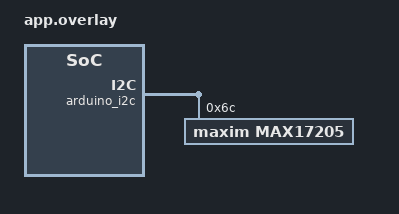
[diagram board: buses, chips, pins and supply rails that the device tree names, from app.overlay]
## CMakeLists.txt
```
cmake_minimum_required(VERSION 3.20.0)

find_package(Zephyr REQUIRED HINTS $ENV{ZEPHYR_BASE})

project(app_battery LANGUAGES C)

execute_process(COMMAND bash -c "oresat-configs canopennode od.yaml ../../common/od.yaml -d gen")

target_sources(app PRIVATE
  src/main.c
  src/batt.c
  src/calib.c
  src/hist.c
  gen/OD.c
)

zephyr_include_directories(gen)
```

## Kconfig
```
menu "Zephyr"
source "Kconfig.zephyr"
endmenu

module = APP_BATTERY
module-str = APP_BATTERY
```

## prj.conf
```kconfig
CONFIG_GPIO=y
CONFIG_SENSOR=y
CONFIG_CAN=y
CONFIG_CAN_DEFAULT_BITRATE=1000000
CONFIG_CANOPENNODE_V4=y
CONFIG_CANOPENNODE_V4_LOG_LEVEL_DBG=y
CONFIG_REBOOT=y
CONFIG_STM32_VREF=y
CONFIG_STM32_TEMP=y

CONFIG_ORESAT_COMMON_LIB=y

CONFIG_LOG=y
CONFIG_LOG_MODE_DEFERRED=y
CONFIG_LOG_RUNTIME_FILTERING=y
CONFIG_LOG_BUFFER_SIZE=2048
CONFIG_LOG_PRINTK=y
CONFIG_LOG_PROCESS_TRIGGER_THRESHOLD=0
CONFIG_COVERAGE=n
CONFIG_LOG_TAG_MAX_LEN=8

CONFIG_CONSOLE_SUBSYS=y
CONFIG_CONSOLE_GETCHAR=y
```

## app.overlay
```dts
/*
 * Copyright (c) 2021 Matija Tudan
 *
 * SPDX-License-Identifier: Apache-2.0
 */

&arduino_i2c {
	status = "okay";

	max17205@6C {
		compatible = "maxim,max17205";
		reg = <0x6C>;
        /* NOTE: this device has two I2C slave addresses. They are used to access
         * different sets of register addresses. Ensure your system does not place
         * another device on the I2C bus which responds to the below aux-addr.
         */
        aux-addr = <0x16>;
        num-cells = <2>;
        cell-bal-thresh-voltage = <40>;
        pack-flags = <0x3E00>;
		rsense-mohms = <10>;
		status = "okay";
	};
};
```

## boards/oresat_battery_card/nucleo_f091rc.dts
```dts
/*
 * Copyright (c) 2017 Bobby Noelte
 *
 * SPDX-License-Identifier: Apache-2.0
 */

/dts-v1/;
#include <st/f0/stm32f091Xc.dtsi>
#include <st/f0/stm32f091r(b-c)tx-pinctrl.dtsi>
#include "arduino_r3_connector.dtsi"
#include "st_morpho_connector.dtsi"
#include <zephyr/dt-bindings/input/input-event-codes.h>

/ {
	model = "Oresat battery card";
	compatible = "st,stm32f091rc-nucleo";

	chosen {
		zephyr,console = &usart2;
		zephyr,shell-uart = &usart2;
		zephyr,sram = &sram0;
		zephyr,flash = &flash0;
		zephyr,canbus = &can1;
	};

	leds: leds {
		compatible = "gpio-leds";

		amber_led_1: led_1 {
			gpios = <&gpioa 0 GPIO_ACTIVE_HIGH>;
			label = "Heartbeat LED";
		};
	};

	gpio_keys {
		compatible = "gpio-keys";

		user_button: button {
			label = "User";
			gpios = <&gpioc 13 GPIO_ACTIVE_LOW>;
			zephyr,code = <INPUT_KEY_0>;
			status = "disabled";
		};
	};

	pwmleds: pwmleds {
		compatible = "pwm-leds";
		status = "disabled";

		amber_pwm_led: amber_pwm_led {
			pwms = <&pwm2 1 PWM_MSEC(20) PWM_POLARITY_NORMAL>;
		};
	};

	aliases {
		led0 = &amber_led_1;
		sw0 = &user_button;
		pwm-led0 = &amber_pwm_led;
		watchdog0 = &iwdg;
		die-temp0 = &die_temp;
		volt-sensor0 = &vref;
		volt-sensor1 = &vbat;
	};
};

&clk_hse {
	hse-bypass;
	clock-frequency = <DT_FREQ_M(8)>; /* STLink 8MHz clock */
	status = "okay";
};

&clk_lsi {
	status = "okay";
};

&pll {
	prediv = <1>;
	mul = <6>;
	clocks = <&clk_hse>;
	status = "okay";
};

&rcc {
	clocks = <&pll>;
	clock-frequency = <DT_FREQ_M(48)>;
	ahb-prescaler = <1>;
	apb1-prescaler = <1>;
};

&usart1 {
	pinctrl-0 = <&usart1_tx_pb6 &usart1_rx_pb7>;
	pinctrl-names = "default";
	current-speed = <115200>;
   status = "disabled";
};

&usart2 {
	pinctrl-0 = <&usart2_tx_pa2 &usart2_rx_pa3>;
	pinctrl-names = "default";
	current-speed = <115200>;
	status = "okay";
};

&i2c1 {
	pinctrl-0 = <&i2c1_scl_pb6 &i2c1_sda_pb7>;
	pinctrl-names = "default";
	status = "okay";
	clock-frequency = <I2C_BITRATE_FAST>;
};

&i2c2 {
	/* Pin conflict with can1. Enable only with can1 disabled. */
	pinctrl-0 = <&i2c2_scl_pb13 &i2c2_sda_pb14>;
	pinctrl-names = "default";
	status = "okay";
	clock-frequency = <I2C_BITRATE_FAST>;
};

&can1 {
	pinctrl-0 = <&can_rx_pa11 &can_tx_pa12>;
	pinctrl-names = "default";
	status = "okay";
};

&spi1 {
	pinctrl-0 = <&spi1_sck_pa5 &spi1_miso_pa6 &spi1_mosi_pa7>;
	pinctrl-names = "default";
	status = "disabled";
};

&spi2 {
	pinctrl-0 = <&spi2_sck_pb13 &spi2_miso_pb14 &spi2_mosi_pb15>;
	pinctrl-names = "default";
	status = "disabled";
};

&iwdg {
	status = "okay";
};

&rtc {
	clocks = <&rcc STM32_CLOCK_BUS_APB1 0x10000000>,
		 <&rcc STM32_SRC_LSI RTC_SEL(2)>;
	status = "okay";
};

&flash0 {
	partitions {
		compatible = "fixed-partitions";
		#address-cells = <1>;
		#size-cells = <1>;

		/* Set 6Kb of storage at the end of the 256Kb of flash */
		storage_partition: partition@3e800 {
			label = "storage";
			reg = <0x0003e800 DT_SIZE_K(6)>;
		};
	};
};

&adc1 {
	pinctrl-0 = <&adc_in0_pa8>;
	pinctrl-names = "default";
	st,adc-clock-source = "SYNC";
	st,adc-prescaler = <2>;
	status = "okay";
};

&die_temp {
	status = "okay";
};

&dac1 {
	status = "disabled";
	pinctrl-0 = <&dac_out1_pa4>;
	pinctrl-names = "default";
};

&dma1 {
	status = "okay";
};

&timers2 {
	st,prescaler = <10000>;
	status = "disabled";

	pwm2: pwm {
		/* NOTE: disabled by default, PWM2 conflicts with SPI1 */
		pinctrl-0 = <&tim2_ch1_pa0>;
		pinctrl-names = "default";
	};
};

&vref {
	status = "okay";
};

&vbat {
	status = "okay";
};
```

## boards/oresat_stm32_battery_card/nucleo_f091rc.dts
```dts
/*
 * Copyright (c) 2017 Bobby Noelte
 *
 * SPDX-License-Identifier: Apache-2.0
 */

/dts-v1/;
#include <st/f0/stm32f091Xc.dtsi>
#include <st/f0/stm32f091r(b-c)tx-pinctrl.dtsi>
#include "arduino_r3_connector.dtsi"
#include "st_morpho_connector.dtsi"
#include <zephyr/dt-bindings/input/input-event-codes.h>

/ {
	model = "Oresat battery card";
	compatible = "st,stm32f091rc-nucleo";

	chosen {
		zephyr,console = &usart2;
		zephyr,shell-uart = &usart2;
		zephyr,sram = &sram0;
		zephyr,flash = &flash0;
		zephyr,canbus = &can1;
	};

	leds: leds {
		compatible = "gpio-leds";

		amber_led_1: led_1 {
			gpios = <&gpioa 0 GPIO_ACTIVE_HIGH>;
			label = "Heartbeat LED";
			status = "okay";
		};
	};

	gpio_keys {
		compatible = "gpio-keys";

		user_button: button {
			label = "User";
			gpios = <&gpioc 13 GPIO_ACTIVE_LOW>;
			zephyr,code = <INPUT_KEY_0>;
			status = "disabled";
		};
	};

	pwmleds: pwmleds {
		compatible = "pwm-leds";
		status = "disabled";

		amber_pwm_led: amber_pwm_led {
			pwms = <&pwm2 1 PWM_MSEC(20) PWM_POLARITY_NORMAL>;
		};
	};

   packs: oresat_battery_packs {
   	compatible = "oresat,battery-packs";

   	alert_gpios = <&gpiob 5 0>, <&gpiob 12 0>;
   	charge_stat_oc_gpios = <&gpioa 7 0>, <&gpiob 10 0>;
   	discharge_stat_oc_gpios = <&gpioa 1 0>, <&gpiob 11 0>;
   	charge_disable_gpios = <&gpioa 4 GPIO_ACTIVE_HIGH>, <&gpiob 0 GPIO_ACTIVE_HIGH>;
   	discharge_disable_gpios = <&gpioa 5 GPIO_ACTIVE_HIGH>, <&gpiob 1 GPIO_ACTIVE_HIGH>;
   	heater_gpios = <&gpioc 14 GPIO_ACTIVE_HIGH>, <&gpioc 15 GPIO_ACTIVE_HIGH>;
   	moarpwr_gpios = <&gpiob 15 GPIO_ACTIVE_HIGH>;
	};

	aliases {
		led0 = &amber_led_1;
		sw0 = &user_button;
		pwm-led0 = &amber_pwm_led;
		watchdog0 = &iwdg;
		die-temp0 = &die_temp;
		volt-sensor0 = &vref;
		volt-sensor1 = &vbat;
	};
};

&clk_hse {
	hse-bypass;
	clock-frequency = <DT_FREQ_M(8)>; /* STLink 8MHz clock */
	status = "okay";
};

&clk_lsi {
	status = "okay";
};

&pll {
	prediv = <1>;
	mul = <6>;
	clocks = <&clk_hse>;
	status = "okay";
};

&rcc {
	clocks = <&pll>;
	clock-frequency = <DT_FREQ_M(48)>;
	ahb-prescaler = <1>;
	apb1-prescaler = <1>;
};

&usart1 {
	pinctrl-0 = <&usart1_tx_pb6 &usart1_rx_pb7>;
	pinctrl-names = "default";
	current-speed = <115200>;
   status = "disabled";
};

&usart2 {
	pinctrl-0 = <&usart2_tx_pa2 &usart2_rx_pa3>;
	pinctrl-names = "default";
	current-speed = <115200>;
	status = "okay";
};

&i2c1 {
	pinctrl-0 = <&i2c1_scl_pb6 &i2c1_sda_pb7>;
	pinctrl-names = "default";
	status = "okay";
	clock-frequency = <I2C_BITRATE_FAST>;
};

&i2c2 {
	/* Pin conflict with can1. Enable only with can1 disabled. */
	pinctrl-0 = <&i2c2_scl_pb13 &i2c2_sda_pb14>;
	pinctrl-names = "default";
	status = "okay";
	clock-frequency = <I2C_BITRATE_FAST>;
};

&can1 {
	pinctrl-0 = <&can_rx_pa11 &can_tx_pa12>;
	pinctrl-names = "default";
	status = "okay";
};

&spi1 {
	pinctrl-0 = <&spi1_sck_pa5 &spi1_miso_pa6 &spi1_mosi_pa7>;
	pinctrl-names = "default";
	status = "disabled";
};

&spi2 {
	pinctrl-0 = <&spi2_sck_pb13 &spi2_miso_pb14 &spi2_mosi_pb15>;
	pinctrl-names = "default";
	status = "disabled";
};

&iwdg {
	status = "okay";
};

&rtc {
	clocks = <&rcc STM32_CLOCK_BUS_APB1 0x10000000>,
		 <&rcc STM32_SRC_LSI RTC_SEL(2)>;
	status = "okay";
};

&flash0 {
	partitions {
		compatible = "fixed-partitions";
		#address-cells = <1>;
		#size-cells = <1>;

		/* Set 6Kb of storage at the end of the 256Kb of flash */
		storage_partition: partition@3e800 {
			label = "storage";
			reg = <0x0003e800 DT_SIZE_K(6)>;
		};
	};
};

&adc1 {
	pinctrl-0 = <&adc_in0_pa6>; /* currently routed to pa8, which is not ADC-capable */
	pinctrl-names = "default";
	st,adc-clock-source = "SYNC";
	st,adc-prescaler = <2>;
	status = "disabled"; /* disable for now */
};

&die_temp {
	status = "okay";
};

&dac1 {
	status = "disabled";
	pinctrl-0 = <&dac_out1_pa4>;
	pinctrl-names = "default";
};

&dma1 {
	status = "okay";
};

&timers2 {
	st,prescaler = <10000>;
	status = "disabled";

	pwm2: pwm {
		/* NOTE: disabled by default, PWM2 conflicts with SPI1 */
		pinctrl-0 = <&tim2_ch1_pa0>;
		pinctrl-names = "default";
		status = "disabled";
	};
};

&vref {
	status = "okay";
};

&vbat {
	status = "okay";
};
```

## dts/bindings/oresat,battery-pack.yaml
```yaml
# Oresat battery pack

description: Oresat battery packs device

compatible: "oresat,battery-packs"

properties:
  alert-gpios:
    type: phandle-array
    required: true
    description: |
      Alert input. Number of entries for this and the other gpios
      should match number of packs.

  charge-stat-oc-gpios:
    type: phandle-array
    description: |
      Charge status input

  discharge-stat-oc-gpios:
    type: phandle-array
    description: |
      Disharge status input

  charge-disable-gpios:
    type: phandle-array
    description: |
      Charge disable output

  discharge-disable-gpios:
    type: phandle-array
    description: |
      Discharge disable output
```

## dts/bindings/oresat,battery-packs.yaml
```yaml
# Oresat battery pack

description: Oresat battery packs device

compatible: "oresat,battery-packs"

properties:
  alert-gpios:
    type: phandle-array
    required: true
    description: |
      Alert inputs. Number of entries for this and the other gpios
      should match number of packs.

  charge-stat-oc-gpios:
    type: phandle-array
    description: |
      Charge status inputs

  discharge-stat-oc-gpios:
    type: phandle-array
    description: |
      Disharge status inputs

  charge-disable-gpios:
    type: phandle-array
    description: |
      Charge disable outputs

  discharge-disable-gpios:
    type: phandle-array
    description: |
      Discharge disable outputs

  heater-gpios:
    type: phandle-array
    description: |
      Battery pack heater enable outputs

  moarpwr-gpios:
    type: phandle-array
    description: |
      Single output to request more power allowance so we can
      enable heaters.
```

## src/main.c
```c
#include <zephyr/kernel.h>
#include <zephyr/device.h>
#include <zephyr/sys/reboot.h>
#include <zephyr/logging/log.h>
#include <zephyr/sys/printk.h>
#include <canopennode.h>
#include <OD.h>
#include <board_sensors.h>
#include <oresat.h>

LOG_MODULE_REGISTER(app_battery, LOG_LEVEL_DBG);

#define CAN_INTERFACE (DEVICE_DT_GET(DT_CHOSEN(zephyr_canbus)))
#define CAN_BITRATE									   \
	(DT_PROP_OR(DT_CHOSEN(zephyr_canbus), bitrate, 					   \
	DT_PROP_OR(DT_CHOSEN(zephyr_canbus), bus_speed, CONFIG_CAN_DEFAULT_BITRATE) / 1000))

#define BATT_THREAD_STACK_SIZE 512
#define BATT_THREAD_PRIORITY 0

//TODO timing for i2c2 is different the i2c1. Scope the lines and match them up.
/* ---- ChibiOS definition -- port this ---- */
static const I2CConfig i2cconfig_1 = {
	STM32_TIMINGR_PRESC(0xBU) |
	STM32_TIMINGR_SCLDEL(0x4U) | STM32_TIMINGR_SDADEL(0x2U) |
	STM32_TIMINGR_SCLH(0xFU)  | STM32_TIMINGR_SCLL(0x13U),
	0,
	0
};
*/
/* ---- ChibiOS definition -- port this ---- */
static const I2CConfig i2cconfig_2 = {
	STM32_TIMINGR_PRESC(0xFU) |
	STM32_TIMINGR_SCLDEL(0x4U) | STM32_TIMINGR_SDADEL(0x2U) |
	STM32_TIMINGR_SCLH(0xFU)  | STM32_TIMINGR_SCLL(0x13U),
	0,
	0
};
*/

int main(void)
{
	uint8_t node_id = oresat_get_node_id();

	LOG_INF("Oresat app battery starting up on board: %s, node: %u", CONFIG_BOARD_TARGET, (unsigned int)node_id);

	oresat_fix_pdo_cob_ids(node_id);

	LOG_DBG("Opening CAN");
	canopennode_init(CAN_INTERFACE, CAN_BITRATE, node_id);
	LOG_DBG("Initializing sensors");
	board_sensors_init();

	K_THREAD_STACK_DEFINE(batt_stack, BATT_THREAD_STACK_SIZE);
	struct k_thread batt_thread_data;

	k_tid_t batt_thread = k_thread_create(&batt_thread_data, batt_stack, K_THREAD_STACK_SIZEOF(batt_stack),
					batt_thread_handler, NULL, NULL, NULL,
					BATT_THREAD_PRIORITY, 0, K_NO_WAIT);

// the battery thread is now running; wait until it exits, if ever, then clean up
	k_thread_join(batt_thread, K_FOREVER);
	k_thread_stack_free(batt_stack);

	canopennode_stop(CAN_INTERFACE);
	sys_reboot(SYS_REBOOT_COLD);
	LOG_INF("Done.");

	return 0;
}
```

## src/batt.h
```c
#ifndef _BATT_H_
#define _BATT_H_

typedef struct {
    bool is_data_valid;

    uint32_t batt_mV;
    uint16_t v_cell_max_volt_mV;
    uint16_t v_cell_min_volt_mV;
    uint16_t v_cell_mV;
    uint16_t v_cell_1_mV;
    uint16_t v_cell_2_mV;
    uint16_t v_cell_avg_mV;

    int32_t current_mA;
    int32_t avg_current_mA;
    int32_t max_current_mA;
    int32_t min_current_mA;

    uint32_t full_capacity_mAh;
    uint32_t reported_capacity_mAh;

    // the next 2 are not reported over CAN
    uint32_t available_capacity_mAh;
    uint32_t mix_capacity_mAh;

    uint32_t time_to_empty_seconds;
    uint32_t time_to_full_seconds;

    uint16_t cycles; // count

    uint8_t reported_state_of_charge; //Percent

    // the next 2 are not reported over CAN
    uint8_t available_state_of_charge; //Percent
    uint8_t present_state_of_charge; //Percent

    int16_t int_temp_C;
    int16_t avg_int_temp_C;
    int8_t temp_max_C;
    int8_t temp_min_C;

    // the next 4 are not reported over CAN
    int16_t temp_1_C;
    int16_t temp_2_C;
    int16_t avg_temp_1_C;
    int16_t avg_temp_2_C;
} batt_pack_data_t;

// All state for a pack is contained in this structure.
typedef struct pack {
    bool init;
    bool updated;
    const struct device *const dev;
    batt_pack_data_t data;
    const struct gpio_dt_spec heater_on;
    const struct gpio_dt_spec line_dchg_dis;
    const struct gpio_dt_spec line_chg_dis;
    const struct gpio_dt_spec line_dchg_stat;
    const struct gpio_dt_spec line_chg_stat;
    const struct gpio_dt_spec line_alert;
    uint8_t pack_number;
    char *name;
} pack_t;

// Full battery detection thresholds

#define BATT_FULL_THRESHOLD_MV 8000
#define EOC_THRESHOLD_MA 50
#define CELL_CAPACITY_MAH 2600
#define CELL_CAPACITY_MAH_RAW 0x1450

#define MAX_HIST_STORE_RETRIES 4

#define ARRAY_LEN(x) (sizeof(x)/sizeof(x[0]))

#define NCELLS          2U          /* Number of cells per pack */
#define NPACKS          2U          /* Number of packs */

// Some of the code and data below requires 2 packs of 2 cells. Any other configuration may require changes.
STATIC_ASSERT(NCELLS == 2);
STATIC_ASSERT(NPACKS == 2);

extern pack_t *get_pack(unsigned int pack);

/* Battery monitoring thread prototypes */
extern void batt_thread_handler(void *p1, void *p2, void *p3);

#endif
```

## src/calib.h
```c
#ifndef _CALIB_H_
#define _CALIB_H_

#ifdef __cplusplus
extern "C" {
#endif

int max17205_reg_read(const struct device *dev, uint16_t addr, int16_t *val);
int max17205_reg_write(const struct device *dev, uint16_t addr, int16_t val);

int max17205_print_volatile_memory(const struct device *dev);
int max17205_print_nonvolatile_memory(const struct device *dev);

int max17205_read_history(const struct device *dev);

bool nv_ram_write(MAX17205Driver *devp, const char *pack_str);
void manage_calibration(void);

const char* max17205_reg_to_str(const uint16_t reg);

int read_channel_int8_t(const struct device *dev, enum sensor_channel type, int8_t *dest);
int read_channel_int16_t(const struct device *dev, enum sensor_channel type, int16_t *dest);
int read_channel_int32_t(const struct device *dev, enum sensor_channel type, int32_t *dest);

static inline int max17205_read_average_temperature(const struct device *dev, enum sensor_channel type, int16_t *dest)
{
    return read_channel_int16_t(dev, type, dest);
}

static inline int max17205_read_max_temperature(const struct device *dev, int8_t *dest)
{
    return read_channel_int8_t(dev, MAX17205_CHAN_TEMP_MAX, dest);
}

static inline int max17205_read_min_temperature(const struct device *dev, int8_t *dest)
{
    return read_channel_int8_t(dev, MAX17205_CHAN_TEMP_MIN, dest);
}

static inline int max17205_read_voltage(const struct device *dev, enum sensor_channel type, uint16_t *dest)
{
    return read_channel_int16_t(dev, type, dest);
}

static inline int max17205_read_batt(const struct device *dev, uint32_t *dest)
{
    return read_channel_int32_t(dev, SENSOR_CHAN_GAUGE_VOLTAGE, dest);
}

static inline int max17205_read_max_voltage(const struct device *dev, uint16_t *dest)
{
    return read_channel_int16_t(dev, MAX17205_CHAN_V_CELL_MAX, dest);
}

static inline int max17205_read_min_voltage(const struct device *dev, uint16_t *dest)
{
    return read_channel_int16_t(dev, MAX17205_CHAN_V_CELL_MIN, dest);
}

static inline int max17205_read_current(const struct device *dev, int16_t *dest)
{
    return read_channel_int16_t(dev, SENSOR_CHAN_CURRENT, dest);
}

static inline int max17205_read_avg_current(const struct device *dev, int16_t *dest)
{
    return read_channel_int16_t(dev, SENSOR_CHAN_GAUGE_AVG_CURRENT, dest);
}

static inline int max17205_read_max_current(const struct device *dev, int16_t *dest)
{
    return read_channel_int16_t(dev, MAX17205_CHAN_CURRENT_MAX, dest);
}

static inline int max17205_read_min_current(const struct device *dev, int16_t *dest)
{
    return read_channel_int16_t(dev, MAX17205_CHAN_CURRENT_MIN, dest);
}

static inline int max17205_read_capacity(const struct device *dev, enum sensor_channel type, uint32_t *dest)
{
    return read_channel_int32_t(dev, type, dest);
}

static inline int max17205_read_time(const struct device *dev, enum sensor_channel type, uint32_t *dest)
{
    return read_channel_int32_t(dev, type, dest);
}

static inline int max17205_read_percentage(const struct device *dev, enum sensor_channel type, uint32_t *dest)
{
    return read_channel_int8_t(dev, type, dest);
}

static inline int max17205_read_cycles(const struct device *dev, uint16_t *dest)
{
    return read_channel_int16_t(dev, SENSOR_CHAN_GAUGE_CYCLE_COUNT, dest);
}

#ifdef __cplusplus
}
#endif

#endif /* _CALIB_H_ */
```

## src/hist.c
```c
#include <zephyr/kernel.h>
#include <zephyr/drivers/sensor.h>

#include "hist.h"
#include "batt.h"
#include "calib.h"

#include <zephyr/logging/log.h>
LOG_MODULE_REGISTER(max17205, CONFIG_SENSOR_LOG_LEVEL);

TODO:
- port flash access to one of the Zephyr flash subsystems
- use Kconfigs in place of various configuration macros (DEBUG_PRINT, VERBOSE_DEBUG, HIST_STORE_PROMPT, etc.)

// raw register values to store at runtime per pack;
// restoring after a reset should result in accurate
// fuel gauge estimates
typedef struct __attribute__((packed)) runtime_pack_data {
    uint16_t mixcap; // MAX17205_AD_MIXCAP
    uint16_t repcap; // MAX17205_AD_REPCAP
} runtime_pack_data_t;

// entry to append to already-written flash at next update interval
typedef struct __attribute__((packed)) runtime_battery_data {
    runtime_pack_data_t rt_packs[NPACKS];
    uint16_t rst_cycle;         // number of reset cycles so far
    uint16_t minute : 12;       // number of minutes so far during a cycle
    uint16_t unused : 3;        // must be 0
    uint16_t estimated : 1;     // set to 1 if previous value was invalid or none found in flash
    uint16_t crc;               // crc calculated over all fields prior to this field
} runtime_battery_data_t;

#define NUM_BATT_HIST_ENTRIES ((STM32F093_FLASH_PAGE_SIZE) / sizeof(runtime_battery_data_t))

// the flash3 section is defined in app_battery's linker script
extern const void __flash3_size__;
#define FLASH3_SIZE ((const uint32_t)(&__flash3_size__))
runtime_battery_data_t *battery_history = (runtime_battery_data_t *) __flash3_base__;
static runtime_battery_data_t *last_valid_history_entry; // pointer to final entry with good CRC
static runtime_battery_data_t *last_empty_history_entry; // pointer to first empty entry

static uint16_t reset_cycle_count;

static void print_runtime_entry(runtime_battery_data_t *data, unsigned int start, unsigned int count, const char *prefix)
{
#if DEBUG_PRINT
    (void)data;
#endif
    LOG_DBG("%srst_cycle=%d, minute=%d, unused=%d, estimated=%d, crc=0x%08X",
            prefix ? prefix : "",
            data->rst_cycle, data->minute, data->unused, data->estimated, data->crc);
    for (unsigned int j = start; j < start + count; j++) {
        LOG_DBG("   pack %u: mixcap:0x%04X, repcap:0x%04X", j + 1, data->rt_packs[j].mixcap, data->rt_packs[j].repcap);
    }
}

#if VERBOSE_DEBUG
void print_batt_hist(void)
{
    runtime_battery_data_t *data = battery_history;
    char prefix[10];

    LOG_DBG("Runtime battery history:\r\nentry size=%lu, entry count=%u",
              sizeof(runtime_battery_data_t), NUM_BATT_HIST_ENTRIES);

    for (unsigned int i = 0; i < NUM_BATT_HIST_ENTRIES; i++) {
        if (!flashIsErasedF091((flashaddr_t)data, sizeof(runtime_battery_data_t))) {
            snprintk(prefix, sizeof(prefix), "%d. ", i);
            print_runtime_entry(data, 0, NPACKS, prefix);
        } else {
            LOG_DBG("%u. Found erased entry. Done.", i);
            break;
        }
        data++;
    }
}
#endif // VERBOSE_DEBUG

void find_last_batt_hist(void)
{
    runtime_battery_data_t *data = battery_history;
    last_valid_history_entry = NULL;
    last_empty_history_entry = NULL;

    // Search forward through stored history for the most recent entry that has
    // a correct CRC.
    for (unsigned int i = 0; i < NUM_BATT_HIST_ENTRIES; i++) {
        if (flashIsErasedF091((flashaddr_t)data, sizeof(runtime_battery_data_t))) {
            last_empty_history_entry = data;
            break;
        }
        uint32_t check_crc = crc32((uint8_t *)data, sizeof(*data) - sizeof(data->crc), 0);

        if (check_crc == data->crc) {
            last_valid_history_entry = data;
        } else {
            LOG_DBG("CRC failure on entry %u", i);
        }
        data++;
    }

    // we found a good entry, so save a copy in RAM
    if (last_valid_history_entry != NULL) {
        LOG_DBG("Selected last valid runtime entry:");
        print_runtime_entry(last_valid_history_entry, 0, NPACKS, NULL);

        reset_cycle_count = last_valid_history_entry->rst_cycle;

        // We have started a new cycle, so advance this counter once
        reset_cycle_count++;
    }
}

static void utilize_batt_hist(pack_t *pack, runtime_battery_data_t *dest)
{
    unsigned int i = pack->pack_number - 1;
    uint16_t tmp;
    int rc;

    tmp = MIN(dest->rt_packs[i].mixcap, CELL_CAPACITY_MAH_RAW);
    rc = max17205_reg_write(pack->dev, MAX17205_AD_MIXCAP, tmp);
    if (rc) {
        LOG_DBG("Error writing AD_MIXCAP");
    }
    tmp = MIN(dest->rt_packs[i].repcap, CELL_CAPACITY_MAH_RAW);
    rc = max17205_reg_write(pack->dev, MAX17205_AD_REPCAP, tmp);
    if (rc) {
        LOG_DBG("Error writing AD_REPCAP");
    }
}

void load_latest_batt_hist(pack_t *pack)
{
    if (last_valid_history_entry == NULL) {
        LOG_DBG("No latest battery history to load");
        return;
    }

    LOG_DBG("Loading entry to pack %u:", pack->pack_number);
    print_runtime_entry(dest, pack->pack_number - 1, 1, NULL);

    utilize_batt_hist(pack, last_valid_history_entry);
}

static void create_batt_hist(pack_t *pack, runtime_battery_data_t *dest)
{
    unsigned int i = pack->pack_number - 1;
    uint16_t tmp;
    int rc;

    rc = max17205_reg_read(pack->dev, MAX17205_AD_MIXCAP, &tmp);
    if (rc) {
        dest->rt_packs[i].mixcap = 0;
    } else {
        // clamp to design limit to handle case where full pack is in storage,
        // self discharges, then is charged later -- MAX17205 will then make max cap
        // higher than it should be
        dest->rt_packs[i].mixcap = MIN(tmp, CELL_CAPACITY_MAH_RAW);
    }
    rc = max17205_reg_read(pack->dev, MAX17205_AD_REPCAP, &tmp);
    if (rc) {
        dest->rt_packs[i].repcap = 0;
    } else {
        dest->rt_packs[i].repcap = MIN(tmp, CELL_CAPACITY_MAH_RAW);
    }
}

static bool add_next_batt_hist(runtime_battery_data_t *new_data)
{
    if (last_empty_history_entry < &battery_history[NUM_BATT_HIST_ENTRIES]) {
        if (flashWriteF091((flashaddr_t)last_empty_history_entry, (uint8_t *)new_data, sizeof(runtime_battery_data_t)) == FLASH_RETURN_SUCCESS) {
            last_valid_history_entry = last_empty_history_entry++;
            return true;
        } else {
            LOG_DBG("Error writing to flash");
        }
    }
    // history storage is full or error writing flash, so let caller recover
    last_valid_history_entry = NULL;
    last_empty_history_entry = battery_history;
    return false;
}

bool store_current_batt_hist(void)
{
    runtime_battery_data_t new_data;
    unsigned int i;
    msg_t r;
    uint16_t tmp;

#if HIST_STORE_PROMPT

    LOG_DBG("********** Store batt_hist e(rase), y(es), n(o)? ");
    uint8_t ch = console_getchar(); // TODO: Zephyr console does not have a read timeout; switch to shell

    LOG_DBG("");
    if (ch == 'e') {
        LOG_DBG("Erasing *************");
        flashEraseF091((flashaddr_t)battery_history, STM32F093_FLASH_PAGE_SIZE);
        return true;
    } else if (ch != 'y') {
        LOG_DBG("Not storing ************");
        return true;
    }
#endif // HIST_STORE_PROMPT
    for (i = 0; i < NPACKS; i++) {
        create_batt_hist(get_pack(i), &new_data);
    }
    new_data.rst_cycle = reset_cycle_count;
    new_data.minute = TIME_I2S(chVTGetSystemTime()) / 60;
    new_data.unused = 0;
    new_data.estimated = false;
    new_data.crc = crc32((uint8_t *)&new_data, sizeof(new_data) - sizeof(new_data.crc), 0);
    LOG_DBG("Storing new runtime battery entry:");
    print_runtime_entry(&new_data, 0, NPACKS, NULL);
    for (i = 0; i < MAX_HIST_STORE_RETRIES; i++) {
        if (add_next_batt_hist(&new_data)) {
            LOG_DBG("Done.");
            return true;
        } else {
            LOG_DBG("Retry %d. Erasing page.", i + 1);
            flashEraseF091((flashaddr_t)battery_history, STM32F093_FLASH_PAGE_SIZE);
        }
    }
    LOG_DBG("ERROR: Unable to store current battery history.");
    return false;
}
```

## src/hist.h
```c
#ifndef _HIST_H_
#define _HIST_H_

#ifdef __cplusplus
extern "C" {
#endif

void print_batt_hist(void);
void find_last_batt_hist(void);
void load_latest_batt_hist(pack_t *pack);
bool store_current_batt_hist(void);

#ifdef __cplusplus
}
#endif

#endif /* _HIST_H_ */
```
